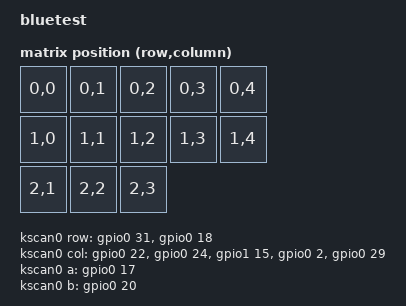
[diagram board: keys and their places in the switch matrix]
#include <nordic/nrf52840_qiaa.dtsi>

#include <dt-bindings/led/led.h>
#include <dt-bindings/zmk/matrix_transform.h>

/ {
	model = "bluetest";
	compatible = "bluetest";

    chosen {
		zephyr,code-partition = &code_partition;
		zephyr,sram = &sram0;
		zephyr,flash = &flash0;
		zephyr,console = &cdc_acm_uart;
		zmk,battery = &vbatt;
		zmk,kscan = &kscan0;
		zmk,matrix_transform = &default_transform;
		zmk,underglow = &led_strip;
	};

    default_transform: keymap_transform_0 {
        compatible = "zmk,matrix-transform";
        columns = <5>;
        rows = <3>;
// | MX1  | MX2  | MX3  | MX4  | MX5  |
// | MX6  | MX7  | MX8  | MX9  | MX10 |

map = <
RC(0,0)  RC(0,1)  RC(0,2)  RC(0,3)  RC(0,4) 
RC(1,0)  RC(1,1)  RC(1,2)  RC(1,3)  RC(1,4)
RC(2,1)  RC(2,2)  RC(2,3)
        >;
    };
	};


    kscan0: kscan {
		compatible = "zmk,kscan-gpio-matrix";
		label = "KSCAN";

		diode-direction = "row2col";
		row-gpios
			= <&gpio0 31 (GPIO_ACTIVE_HIGH | GPIO_PULL_DOWN)>
			, <&gpio0 18 (GPIO_ACTIVE_HIGH | GPIO_PULL_DOWN)>
			;
		col-gpios
			= <&gpio0 22 GPIO_ACTIVE_HIGH>
			, <&gpio0 24 GPIO_ACTIVE_HIGH>
			, <&gpio1 15 GPIO_ACTIVE_HIGH>
			, <&gpio0 2 GPIO_ACTIVE_HIGH>
			, <&gpio0 29 GPIO_ACTIVE_HIGH>
			;
	};

	#include <dt-bindings/led/led.h>

	&pinctrl {
		spi3_default: spi3_default {
			group1 {
				psels = <NRF_PSEL(SPIM_MOSI, 1, 13)>;
			};
		};
	
		spi3_sleep: spi3_sleep {
			group1 {
				psels = <NRF_PSEL(SPIM_MOSI, 1, 13)>;
				low-power-enable;
			};
		};
	};
	
	&spi3 {
	  compatible = "nordic,nrf-spim";
	  status = "okay";
	
	  pinctrl-0 = <&spi3_default>;
	  pinctrl-1 = <&spi3_sleep>;
	  pinctrl-names = "default", "sleep";
	
	  led_strip: ws2812@0 {
		compatible = "worldsemi,ws2812-spi";
		label = "WS2812";
	
		/* SPI */
		reg = <0>; /* ignored, but necessary for SPI bindings */
		spi-max-frequency = <4000000>;
	
		/* WS2812 */
		chain-length = <10>; /* number of LEDs */
		spi-one-frame = <0x70>;
		spi-zero-frame = <0x40>;
		color-mapping = <LED_COLOR_ID_GREEN
							  LED_COLOR_ID_RED
							  LED_COLOR_ID_BLUE>;
	  };
	};


	&adc {
		status = "okay";
	};
	
	&gpiote {
		status = "okay";
	};
	
	&gpio0 {
		status = "okay";
	};
	
	&gpio1 {
		status = "okay";
	};

	left_encoder: encoder_left {
		compatible = "alps,ec11";
		label = "LEFT_ENCODER";
		a-gpios = <&gpio0 17 (GPIO_ACTIVE_HIGH | GPIO_PULL_UP)>;
		b-gpios = <&gpio0 20 (GPIO_ACTIVE_HIGH | GPIO_PULL_UP)>;
		resolution = <4>;
		status = "disabled";
	};
